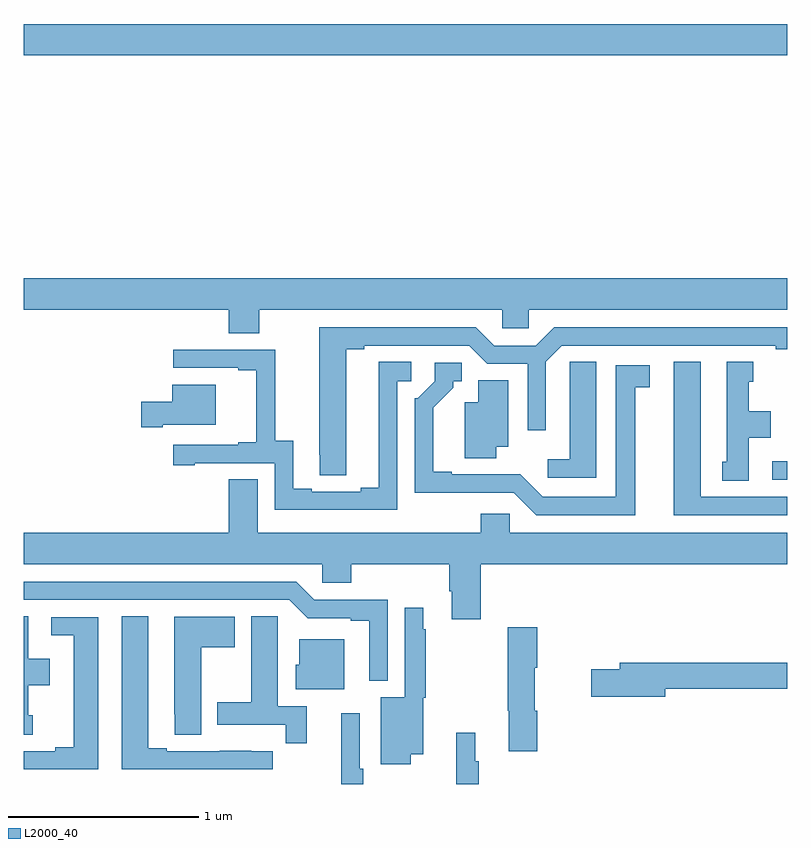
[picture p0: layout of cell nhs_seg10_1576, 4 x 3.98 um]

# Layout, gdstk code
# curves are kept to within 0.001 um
import gdstk
lib = gdstk.Library(unit=1e-6, precision=1e-09)
def R(c, l, rs):  # rectangles x0, y0, x1, y1
    for r in rs: c.add(gdstk.rectangle(r[:2], r[2:], *l))
def P(c, l, *ps):  # polygons
    for p in ps: c.add(gdstk.Polygon(p, *l))
L2000_40 = (2000, 40)

nhs_seg10_1576 = lib.new_cell('nhs_seg10_1576')
R(nhs_seg10_1576, L2000_40, [(196.92,1298.094,197,1298.19), (193,1300.316,197,1300.48)])
P(nhs_seg10_1576, L2000_40, [(194.235,1298.984),(195.507,1298.984),(195.507,1298.886),(195.645,1298.886),(195.645,1298.984),(197,1298.984),(197,1299.148),(193,1299.148),(193,1298.984),(194.075,1298.984),(194.075,1298.86),(194.235,1298.86)],
  [(194.689,1298.776),(194.785,1298.776),(194.785,1298.796),(195.333,1298.796),(195.429,1298.7),(195.639,1298.7),(195.639,1298.352),(195.735,1298.352),(195.735,1298.712),(195.819,1298.796),(196.94,1298.796),(196.94,1298.776),(197,1298.776),(197,1298.892),(195.779,1298.892),(195.683,1298.796),(195.465,1298.796),(195.369,1298.892),(194.549,1298.892),(194.55,1298.116),(194.689,1298.116)],
  [(194.958,1298.61),(195.031,1298.61),(195.031,1298.711),(194.861,1298.711),(194.861,1298.051),(194.765,1298.051),(194.765,1298.031),(194.509,1298.031),(194.509,1298.046),(194.413,1298.046),(194.413,1298.297),(194.319,1298.297),(194.319,1298.775),(193.785,1298.775),(193.785,1298.679),(194.123,1298.679),(194.123,1298.667),(194.219,1298.667),(194.219,1298.29),(194.123,1298.29),(194.123,1298.277),(193.785,1298.277),(193.785,1298.169),(193.897,1298.169),(193.897,1298.181),(194.316,1298.181),(194.316,1297.935),(194.958,1297.935)],
  [(196,1298.711),(195.861,1298.711),(195.861,1298.603),(195.86,1298.603),(195.86,1298.2),(195.744,1298.2),(195.744,1298.103),(196,1298.103)],
  [(196.798,1298.312),(196.912,1298.312),(196.912,1298.452),(196.798,1298.452),(196.798,1298.607),(196.822,1298.607),(196.822,1298.71),(196.682,1298.71),(196.682,1298.187),(196.658,1298.187),(196.658,1298.089),(196.798,1298.089)],
  [(197,1298.004),(196.546,1298.004),(196.546,1298.71),(196.406,1298.71),(196.406,1297.908),(197,1297.908)],
  [(196.204,1298.578),(196.279,1298.578),(196.279,1298.694),(196.1,1298.694),(196.1,1298.004),(195.72,1298.004),(195.602,1298.122),(195.241,1298.121),(195.241,1298.134),(195.145,1298.134),(195.145,1298.47),(195.25,1298.575),(195.25,1298.61),(195.295,1298.61),(195.295,1298.706),(195.153,1298.706),(195.153,1298.61),(195.063,1298.52),(195.048,1298.52),(195.048,1298.024),(195.567,1298.025),(195.684,1297.908),(196.204,1297.908)],
  [(195.475,1298.267),(195.538,1298.267),(195.538,1298.615),(195.38,1298.615),(195.38,1298.5),(195.311,1298.5),(195.311,1298.206),(195.475,1298.206)],
  [(193.729,1298.381),(194.005,1298.381),(194.005,1298.59),(193.778,1298.59),(193.778,1298.503),(193.617,1298.503),(193.617,1298.369),(193.729,1298.369)],
  [(195.395,1297.652),(197,1297.652),(197,1297.816),(195.546,1297.816),(195.546,1297.914),(195.395,1297.914),(195.395,1297.816),(194.227,1297.816),(194.227,1298.096),(194.075,1298.096),(194.075,1297.816),(193,1297.816),(193,1297.652),(194.565,1297.652),(194.565,1297.554),(194.717,1297.554),(194.717,1297.652),(195.23,1297.652),(195.23,1297.51),(195.242,1297.51),(195.242,1297.362),(195.395,1297.362)],
  [(194.907,1297.464),(194.523,1297.464),(194.427,1297.56),(193,1297.56),(193,1297.464),(194.391,1297.464),(194.487,1297.368),(194.714,1297.368),(194.714,1297.356),(194.81,1297.356),(194.81,1297.04),(194.907,1297.04)],
  [(195.028,1296.656),(195.094,1296.656),(195.094,1296.951),(195.106,1296.951),(195.106,1297.31),(195.094,1297.31),(195.094,1297.423),(194.997,1297.423),(194.997,1296.955),(194.87,1296.955),(194.87,1296.603),(195.028,1296.603)],
  [(193.048,1296.861),(193.024,1296.861),(193.024,1297.016),(193.138,1297.016),(193.138,1297.156),(193.024,1297.156),(193.024,1297.379),(193,1297.379),(193,1296.759),(193.048,1296.759)],
  [(194.483,1296.906),(194.332,1296.906),(194.332,1297.268),(194.331,1297.268),(194.331,1297.379),(194.192,1297.379),(194.192,1296.927),(194.015,1296.927),(194.015,1296.81),(194.374,1296.81),(194.374,1296.714),(194.483,1296.714)],
  [(194.305,1296.672),(194.192,1296.672),(194.192,1296.673),(194.026,1296.673),(194.026,1296.672),(193.75,1296.672),(193.75,1296.687),(193.654,1296.687),(193.654,1297.379),(193.514,1297.379),(193.514,1296.576),(194.305,1296.576)],
  [(193.93,1297.216),(194.107,1297.216),(194.107,1297.375),(193.79,1297.375),(193.79,1296.865),(193.791,1296.865),(193.791,1296.757),(193.93,1296.757)],
  [(193.39,1297.374),(193.146,1297.374),(193.146,1297.278),(193.262,1297.278),(193.262,1296.692),(193.166,1296.692),(193.166,1296.672),(193,1296.672),(193,1296.576),(193.39,1296.576)],
  [(195.689,1296.884),(195.676,1296.884),(195.676,1297.108),(195.689,1297.108),(195.689,1297.321),(195.535,1297.321),(195.535,1296.884),(195.542,1296.884),(195.542,1296.672),(195.689,1296.672)],
  [(194.68,1297.258),(194.444,1297.258),(194.444,1297.125),(194.426,1297.125),(194.426,1296.995),(194.68,1296.995)],
  [(196.36,1297),(197,1297),(197,1297.136),(196.121,1297.136),(196.121,1297.1),(195.972,1297.1),(195.972,1296.958),(196.36,1296.958)],
  [(194.78,1296.58),(194.76,1296.58),(194.76,1296.871),(194.663,1296.871),(194.663,1296.5),(194.78,1296.5)],
  [(195.383,1296.618),(195.364,1296.618),(195.364,1296.769),(195.265,1296.769),(195.265,1296.5),(195.383,1296.5)])

lib.write_gds('nhs_seg10_1576.gds')
